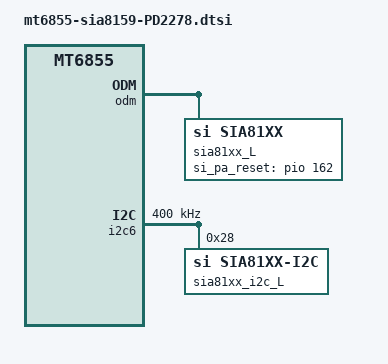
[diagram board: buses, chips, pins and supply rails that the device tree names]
/* Copyright (c) 2018, The Linux Foundation. All rights reserved.
 *
 * This program is free software; you can redistribute it and/or modify
 * it under the terms of the GNU General Public License version 2 and
 * only version 2 as published by the Free Software Foundation.
 *
 * This program is distributed in the hope that it will be useful,
 * but WITHOUT ANY WARRANTY; without even the implied warranty of
 * MERCHANTABILITY or FITNESS FOR A PARTICULAR PURPOSE.  See the
 * GNU General Public License for more details.
 */

/* vivo audio add for  second PA device begin*/
&pio {
	sia81xx_gpio_L: sia81xx_gpio_L {
		pins_cmd_dat {
			pinmux = <PINMUX_GPIO162__FUNC_GPIO162>;

			slew-rate = <1>;
			bias-disable;
		};
	};
};

&odm {
	sia81xx_L: sia81xx@L {
		compatible = "si,sia81xx";
		si,si_pa_type = "sia8159";
		si,si_pa_reset = <&pio 162 0>;
		pinctrl-names = "si_pa_gpio";
		pinctrl-0 = <&sia81xx_gpio_L>;

		si,si_pa_disable_pin = <1>;

		/* the same value share a same task
		 * valid value range : 0 ~ 7 */
		timer_task_hdl = <0>;

		channel_num = <0>;
		owi_mode = <1>;
	};
};

&sound {
	si,sia81xx-max-num = <1>;
	si,sia81xx-aux-devs = <&sia81xx_L>;
	si,sia81xx-aux-devs-prefix = "SpkrLeft";
};

&i2c6 {
	#address-cells = <1>;
	#size-cells = <0>;
	clock-frequency = <400000>;
	mediatek,use-open-drain;

	sia81xx_i2c_L: sia81xx_i2c@L {
		compatible = "si,sia81xx-i2c";
		reg = <0x28>;
		vivo,si_pa_cfg = "sipa_PD2278.bin"; /* vivo audio add for pa cfg file */
		si,sipa-dev = <&sia81xx_L>;
		status = "okay";
	};
};
/* vivo audio GuoYijia add for second PA device end */
